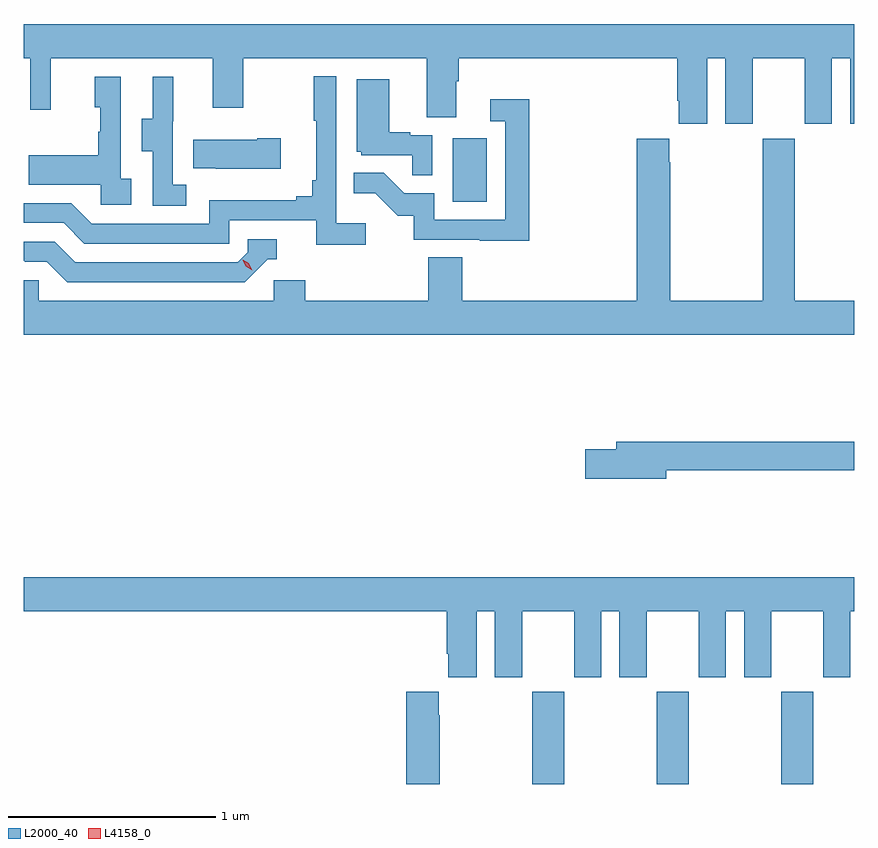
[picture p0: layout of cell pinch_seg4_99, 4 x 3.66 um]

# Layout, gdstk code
import gdstk
lib = gdstk.Library(unit=1e-6, precision=1e-09)
def R(c, l, rs):  # rectangles x0, y0, x1, y1
    for r in rs: c.add(gdstk.rectangle(r[:2], r[2:], *l))
def A(c, l, x, y, w, h, nx, ny, dx, dy):  # array of equal rectangles
    R(c, l, [(x+i*dx, y+j*dy, x+i*dx+w, y+j*dy+h) for i in range(nx) for j in range(ny)])
def P(c, l, *ps):  # polygons
    for p in ps: c.add(gdstk.Polygon(p, *l))
L2000_40 = (2000, 40)
L4158_0 = (4158, 0)

pinch_seg4_99 = lib.new_cell('pinch_seg4_99')
A(pinch_seg4_99, L2000_40, 1047.529, 805.313, 0.155, 0.443, 3, 1, 0.6, 0)
R(pinch_seg4_99, L2000_40, [(1047.146,808.116,1047.31,808.423)])
P(pinch_seg4_99, L2000_40, [(1048.372,808.808),(1048.46,808.808),(1048.46,808.491),(1048.591,808.491),(1048.591,808.808),(1048.841,808.808),(1048.841,808.491),(1048.972,808.491),(1048.972,808.808),(1049.06,808.808),(1049.06,808.491),(1049.081,808.491),(1049.081,808.972),(1045.081,808.972),(1045.081,808.808),(1045.113,808.808),(1045.113,808.56),(1045.211,808.56),(1045.211,808.808),(1045.991,808.808),(1045.991,808.569),(1046.139,808.569),(1046.139,808.808),(1047.023,808.808),(1047.023,808.522),(1047.163,808.522),(1047.163,808.696),(1047.176,808.696),(1047.176,808.808),(1048.228,808.808),(1048.228,808.603),(1048.235,808.603),(1048.235,808.491),(1048.372,808.491)],
  [(1046.728,808.012),(1046.586,808.012),(1046.586,808.72),(1046.478,808.72),(1046.478,808.507),(1046.489,808.507),(1046.489,808.219),(1046.47,808.219),(1046.47,808.142),(1046.393,808.142),(1046.393,808.123),(1045.974,808.123),(1045.974,808.011),(1045.41,808.011),(1045.311,808.11),(1045.081,808.11),(1045.081,808.014),(1045.274,808.014),(1045.373,807.915),(1046.07,807.915),(1046.07,808.026),(1046.489,808.026),(1046.489,807.91),(1046.728,807.91)],
  [(1045.864,808.199),(1045.8,808.199),(1045.8,808.503),(1045.802,808.503),(1045.802,808.717),(1045.703,808.717),(1045.703,808.515),(1045.649,808.515),(1045.649,808.36),(1045.704,808.36),(1045.704,808.096),(1045.864,808.096)],
  [(1045.6,808.226),(1045.548,808.226),(1045.548,808.717),(1045.424,808.717),(1045.424,808.572),(1045.45,808.572),(1045.45,808.454),(1045.44,808.454),(1045.44,808.339),(1045.105,808.339),(1045.105,808.199),(1045.452,808.199),(1045.452,808.101),(1045.6,808.101)],
  [(1047.048,808.437),(1046.942,808.437),(1046.942,808.45),(1046.842,808.45),(1046.842,808.705),(1046.684,808.705),(1046.684,808.356),(1046.706,808.356),(1046.706,808.341),(1046.953,808.341),(1046.953,808.243),(1047.048,808.243)],
  [(1047.515,808.609),(1047.327,808.609),(1047.327,808.503),(1047.399,808.503),(1047.399,808.029),(1047.057,808.029),(1047.057,808.158),(1046.913,808.158),(1046.815,808.256),(1046.671,808.256),(1046.671,808.157),(1046.775,808.157),(1046.882,808.05),(1046.959,808.05),(1046.959,807.933),(1047.277,807.933),(1047.277,807.928),(1047.515,807.928)],
  [(1046.32,808.422),(1046.207,808.422),(1046.207,808.414),(1045.897,808.414),(1045.897,808.277),(1046.005,808.277),(1046.005,808.274),(1046.32,808.274)],
  [(1049.081,807.64),(1048.794,807.64),(1048.794,808.42),(1048.639,808.42),(1048.639,807.64),(1048.194,807.64),(1048.194,808.307),(1048.189,808.307),(1048.189,808.42),(1048.034,808.42),(1048.034,807.64),(1047.194,807.64),(1047.194,807.848),(1047.029,807.848),(1047.029,807.64),(1046.438,807.64),(1046.438,807.738),(1046.286,807.738),(1046.286,807.64),(1045.155,807.64),(1045.155,807.738),(1045.081,807.738),(1045.081,807.476),(1049.081,807.476)],
  [(1046.256,807.84),(1046.299,807.84),(1046.299,807.936),(1046.16,807.936),(1046.16,807.873),(1046.112,807.825),(1045.329,807.825),(1045.23,807.924),(1045.081,807.924),(1045.081,807.831),(1045.086,807.831),(1045.086,807.828),(1045.193,807.828),(1045.292,807.729),(1046.145,807.729)],
  [(1048.174,806.824),(1049.081,806.824),(1049.081,806.96),(1047.935,806.96),(1047.935,806.924),(1047.786,806.924),(1047.786,806.782),(1048.174,806.782)],
  [(1047.262,806.144),(1047.35,806.144),(1047.35,805.827),(1047.481,805.827),(1047.481,806.144),(1047.731,806.144),(1047.731,805.827),(1047.862,805.827),(1047.862,806.144),(1047.95,806.144),(1047.95,805.827),(1048.081,805.827),(1048.081,806.144),(1048.331,806.144),(1048.331,805.827),(1048.462,805.827),(1048.462,806.144),(1048.55,806.144),(1048.55,805.827),(1048.681,805.827),(1048.681,806.144),(1048.931,806.144),(1048.931,805.827),(1049.062,805.827),(1049.062,806.144),(1049.081,806.144),(1049.081,806.308),(1045.081,806.308),(1045.081,806.144),(1047.119,806.144),(1047.119,805.939),(1047.125,805.939),(1047.125,805.827),(1047.262,805.827)],
  [(1047.084,805.643),(1047.079,805.643),(1047.079,805.756),(1046.924,805.756),(1046.924,805.313),(1047.084,805.313)])
P(pinch_seg4_99, L4158_0, [(1046.182,807.786),(1046.151,807.805),(1046.135,807.838),(1046.135,807.838),(1046.135,807.838),(1046.166,807.819),(1046.182,807.786),(1046.182,807.786)])

lib.write_gds('pinch_seg4_99.gds')
